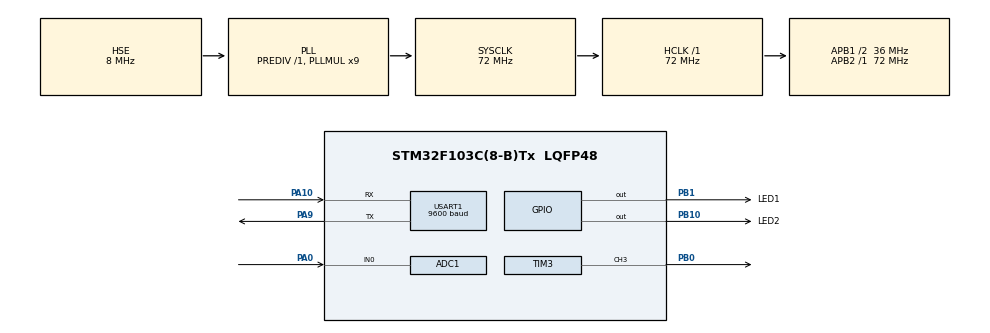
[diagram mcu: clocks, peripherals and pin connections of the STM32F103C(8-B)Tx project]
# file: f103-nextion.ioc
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ADC1.Channel-0\#ChannelRegularConversion=ADC_CHANNEL_0
ADC1.NbrOfConversionFlag=1
ADC1.Rank-0\#ChannelRegularConversion=1
ADC1.SamplingTime-0\#ChannelRegularConversion=ADC_SAMPLETIME_71CYCLES_5
ADC1.master=1
Mcu.Family=STM32F1
Mcu.Name=STM32F103C(8-B)Tx
Mcu.Package=LQFP48
NVIC.ADC1_2_IRQn=true\:0\:0\:false\:false\:true\:true\:true
NVIC.PriorityGroup=NVIC_PRIORITYGROUP_4
NVIC.USART1_IRQn=true\:0\:0\:false\:false\:true\:true\:true
PA0-WKUP.Signal=ADCx_IN0
PA10.Mode=Asynchronous
PA10.Signal=USART1_RX
PA13.Mode=Serial_Wire
PA13.Signal=SYS_JTMS-SWDIO
PA14.Mode=Serial_Wire
PA14.Signal=SYS_JTCK-SWCLK
PA9.Mode=Asynchronous
PA9.Signal=USART1_TX
PB0.Signal=S_TIM3_CH3
PB1.GPIO_Label=LED1
PB1.Signal=GPIO_Output
PB10.GPIO_Label=LED2
PB10.Signal=GPIO_Output
PD0-OSC_IN.Mode=HSE-External-Oscillator
PD0-OSC_IN.Signal=RCC_OSC_IN
PD1-OSC_OUT.Mode=HSE-External-Oscillator
PD1-OSC_OUT.Signal=RCC_OSC_OUT
ProjectManager.HeapSize=0x200
ProjectManager.StackSize=0x400
ProjectManager.TargetToolchain=STM32CubeIDE
RCC.ADCPresc=RCC_ADCPCLK2_DIV6
RCC.AHBFreq_Value=72000000
RCC.APB1CLKDivider=RCC_HCLK_DIV2
RCC.APB1Freq_Value=36000000
RCC.APB1TimFreq_Value=72000000
RCC.APB2Freq_Value=72000000
RCC.APB2TimFreq_Value=72000000
RCC.HCLKFreq_Value=72000000
RCC.PLLMUL=RCC_PLL_MUL9
RCC.PLLSourceVirtual=RCC_PLLSOURCE_HSE
RCC.SYSCLKFreq_VALUE=72000000
RCC.SYSCLKSource=RCC_SYSCLKSOURCE_PLLCLK
RCC.USBFreq_Value=72000000
SH.ADCx_IN0.0=ADC1_IN0,IN0
SH.S_TIM3_CH3.0=TIM3_CH3,PWM Generation3 CH3
TIM3.Channel-PWM\ Generation3\ CH3=TIM_CHANNEL_3
TIM3.Period=999
TIM3.Prescaler=71
USART1.BaudRate=9600
USART1.VirtualMode=VM_ASYNC
board=custom

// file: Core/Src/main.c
/* USER CODE BEGIN Header */
/**
  ******************************************************************************
  * @file           : main.c
  * @brief          : Main program body
  ******************************************************************************
  * @attention
  *
  * <h2><center>&copy; Copyright (c) 2021 STMicroelectronics.
  * All rights reserved.</center></h2>
  *
  * This software component is licensed by ST under BSD 3-Clause license,
  * the "License"; You may not use this file except in compliance with the
  * License. You may obtain a copy of the License at:
  *                        opensource.org/licenses/BSD-3-Clause
  *
  ******************************************************************************
  */
/* USER CODE END Header */
#include "main.h"

/* USER CODE BEGIN Includes */
#include <stdio.h>
#include <stdlib.h>
/* USER CODE END Includes */

ADC_HandleTypeDef hadc1;

TIM_HandleTypeDef htim3;

UART_HandleTypeDef huart1;

/* USER CODE BEGIN PV */
uint8_t recArr[32], recData, cnt = 0, endPackCnt = 0, packReady = 0, pageId = 0;
uint8_t sendStr[32], sendLen = 0;
uint16_t adcVal = 0;
uint32_t lastTimeSend = 0;
/* USER CODE END PV */

void SystemClock_Config(void);
static void MX_GPIO_Init(void);
static void MX_ADC1_Init(void);
static void MX_TIM3_Init(void);
static void MX_USART1_UART_Init(void);

/* USER CODE BEGIN 0 */

//UART Rx data receieve callback function
void HAL_UART_RxCpltCallback(UART_HandleTypeDef *huart)
{
	if(huart == &huart1)
	{
		//add received data to buffer
		recArr[cnt++] = recData;

		// count received 0xFF
		if(recData == 0xFF)
		{
			endPackCnt++;
		}else{
			endPackCnt = 0;
		}

		// if 0xFF count reach 3, make packet flag true
		if(endPackCnt == 3)
		{
			packReady = 1;
			endPackCnt = 0;
		}

		HAL_UART_Receive_IT(&huart1, (uint8_t *)&recData, 1);
	}
}

// adc conversion complete callback function
void HAL_ADC_ConvCpltCallback(ADC_HandleTypeDef* hadc)
{
	if(hadc == &hadc1)
	{
		adcVal = HAL_ADC_GetValue(hadc);
		HAL_ADC_Start_IT(&hadc1);
	}
}

// update widget function which have value parameter
void setValueNextion(const char *pId, int pVal)
{
	sendLen = sprintf((char *)sendStr, "%s.val=%d%c%c%c", pId, pVal, 0xFF, 0xFF, 0xFF);
	HAL_UART_Transmit(&huart1, sendStr, sendLen, 2000);
	HAL_Delay(10);
}

// update widget function which have text parameter
void setTextNextion(const char *pId, const char *pVal)
{
	sendLen = sprintf((char *)sendStr, "%s.txt=\"%s\"%c%c%c", pId, pVal, 0xFF, 0xFF, 0xFF);
	HAL_UART_Transmit(&huart1, sendStr, sendLen, 2000);
	HAL_Delay(10);
}
/* USER CODE END 0 */

int main(void)
{

  /* MCU Configuration--------------------------------------------------------*/

  /* Reset of all peripherals, Initializes the Flash interface and the Systick. */
  HAL_Init();

  /* Configure the system clock */
  SystemClock_Config();

  /* Initialize all configured peripherals */
  MX_GPIO_Init();
  MX_ADC1_Init();
  MX_TIM3_Init();
  MX_USART1_UART_Init();
  /* USER CODE BEGIN 2 */
  // start ADC, UART and Timer
  HAL_UART_Receive_IT(&huart1, (uint8_t *)&recData, 1);
  HAL_ADC_Start_IT(&hadc1);
  HAL_TIM_PWM_Start(&htim3, TIM_CHANNEL_3);
  __HAL_TIM_SET_COMPARE(&htim3, TIM_CHANNEL_3, 0);

  // reset nextion screen
  sendLen = sprintf((char *)sendStr, "rest%c%c%c", 0xFF, 0xFF, 0xFF);
  HAL_UART_Transmit(&huart1, sendStr, sendLen, 2000);
  HAL_Delay(10);

  // set LEDs initial stutus to OFF
  HAL_GPIO_WritePin(LED1_GPIO_Port, LED1_Pin, GPIO_PIN_RESET);
  HAL_GPIO_WritePin(LED2_GPIO_Port, LED2_Pin, GPIO_PIN_RESET);

  // set LED status text' s in Nextion screen
  setTextNextion("t0", HAL_GPIO_ReadPin(LED1_GPIO_Port, LED1_Pin) ? "LED Yandi" : "LED Sondu");
  setTextNextion("t1", HAL_GPIO_ReadPin(LED2_GPIO_Port, LED2_Pin) ? "LED Yandi" : "LED Sondu");
  /* USER CODE END 2 */

  /* Infinite loop */
  /* USER CODE BEGIN WHILE */
  while (1)
  {

	  // update screen in every 100ms
	  if(HAL_GetTick() - lastTimeSend > 100)
	  {
		  // according to open page send updated data
		  if(pageId == 0)
		  {
			  // if first page opened, send LED status
	  		  setTextNextion("t0", HAL_GPIO_ReadPin(LED1_GPIO_Port, LED1_Pin) ? "LED Yandi" : "LED Sondu");
	  		  setTextNextion("t1", HAL_GPIO_ReadPin(LED2_GPIO_Port, LED2_Pin) ? "LED Yandi" : "LED Sondu");
		  }else if(pageId == 1)
		  {
			  // if second page opened, send ADC data

			  // scale 12 bit adc to between 0-100
			  uint8_t sendAdc = adcVal * 100 / 4096 ;

			  // convert int value to str
			  char txtPtr[5];
			  itoa(sendAdc, txtPtr, 10);
			  if(sendAdc > 100) sendAdc = 100;
			  setValueNextion("j0", sendAdc);
			  setTextNextion("t0", txtPtr);
		  }

		  lastTimeSend = HAL_GetTick();
	  }

	  // check nextion packet flag is true
	  // if flag is true all of bytes in buffer received
	  if(packReady && cnt > 0)
	  {
		  // check all received packet to where is start byte
		  for(int i = 0; i < cnt; i++)
		  {
			  // check 0x65 byte index in buffer
			  if(recArr[i] == 0x65)
			  {
				  // read bytes from receive buffer
				  uint8_t pId = recArr[i + 1];
				  uint8_t mId = recArr[i + 2];
				  uint8_t mVal = recArr[i + 3];

				  uint16_t pwmVal = mVal * 10;

				  // make choose according to used button' s pageId and widget ID
				  if(pId == 0)
				  {
					  switch(mId)
					  {
					  	  // LED 1 toggle button ID
						  case 2:
							  HAL_GPIO_TogglePin(LED1_GPIO_Port, LED1_Pin);
					  		  setTextNextion("t0", HAL_GPIO_ReadPin(LED1_GPIO_Port, LED1_Pin) ? "LED Yandi" : "LED Sondu");
							  break;
						  // LED 2 toggle button ID
						  case 3:
							  HAL_GPIO_TogglePin(LED2_GPIO_Port, LED2_Pin);
					  		  setTextNextion("t1", HAL_GPIO_ReadPin(LED2_GPIO_Port, LED2_Pin) ? "LED Yandi" : "LED Sondu");
							  break;
						  // change page 1 button ID
						  case 6:
							  pageId = 1;
					  		  HAL_Delay(10);
							  break;
					  }
				  }else if(pId == 1)
				  {
					  switch(mId)
					  {
					  	  // change page 0 button ID
					  	  case 2:
					  		  pageId = 0;
					  		  setTextNextion("t0", HAL_GPIO_ReadPin(LED1_GPIO_Port, LED1_Pin) ? "LED Yandi" : "LED Sondu");
					  		  setTextNextion("t1", HAL_GPIO_ReadPin(LED2_GPIO_Port, LED2_Pin) ? "LED Yandi" : "LED Sondu");
					  		  break;
						  // LED 1 switch button ID
						  case 4:
							  HAL_GPIO_WritePin(LED1_GPIO_Port, LED1_Pin, mVal);
							  break;
						  // slider ID
						  case 7:
							  __HAL_TIM_SET_COMPARE(&htim3, TIM_CHANNEL_3, pwmVal);
							  break;
					  }
				  }

				  lastTimeSend = HAL_GetTick();

			  }
		  }
		  packReady = 0;
		  cnt = 0;
	  }
    /* USER CODE END WHILE */

  }
}

void SystemClock_Config(void)
{
  RCC_OscInitTypeDef RCC_OscInitStruct = {0};
  RCC_ClkInitTypeDef RCC_ClkInitStruct = {0};
  RCC_PeriphCLKInitTypeDef PeriphClkInit = {0};

  /** Initializes the RCC Oscillators according to the specified parameters
  * in the RCC_OscInitTypeDef structure.
  */
  RCC_OscInitStruct.OscillatorType = RCC_OSCILLATORTYPE_HSE;
  RCC_OscInitStruct.HSEState = RCC_HSE_ON;
  RCC_OscInitStruct.HSEPredivValue = RCC_HSE_PREDIV_DIV1;
  RCC_OscInitStruct.HSIState = RCC_HSI_ON;
  RCC_OscInitStruct.PLL.PLLState = RCC_PLL_ON;
  RCC_OscInitStruct.PLL.PLLSource = RCC_PLLSOURCE_HSE;
  RCC_OscInitStruct.PLL.PLLMUL = RCC_PLL_MUL9;
  if (HAL_RCC_OscConfig(&RCC_OscInitStruct) != HAL_OK)
  {
    Error_Handler();
  }
  /** Initializes the CPU, AHB and APB buses clocks
  */
  RCC_ClkInitStruct.ClockType = RCC_CLOCKTYPE_HCLK|RCC_CLOCKTYPE_SYSCLK
                              |RCC_CLOCKTYPE_PCLK1|RCC_CLOCKTYPE_PCLK2;
  RCC_ClkInitStruct.SYSCLKSource = RCC_SYSCLKSOURCE_PLLCLK;
  RCC_ClkInitStruct.AHBCLKDivider = RCC_SYSCLK_DIV1;
  RCC_ClkInitStruct.APB1CLKDivider = RCC_HCLK_DIV2;
  RCC_ClkInitStruct.APB2CLKDivider = RCC_HCLK_DIV1;

  if (HAL_RCC_ClockConfig(&RCC_ClkInitStruct, FLASH_LATENCY_2) != HAL_OK)
  {
    Error_Handler();
  }
  PeriphClkInit.PeriphClockSelection = RCC_PERIPHCLK_ADC;
  PeriphClkInit.AdcClockSelection = RCC_ADCPCLK2_DIV6;
  if (HAL_RCCEx_PeriphCLKConfig(&PeriphClkInit) != HAL_OK)
  {
    Error_Handler();
  }
}

static void MX_ADC1_Init(void)
{

  ADC_ChannelConfTypeDef sConfig = {0};

  /** Common config
  */
  hadc1.Instance = ADC1;
  hadc1.Init.ScanConvMode = ADC_SCAN_DISABLE;
  hadc1.Init.ContinuousConvMode = DISABLE;
  hadc1.Init.DiscontinuousConvMode = DISABLE;
  hadc1.Init.ExternalTrigConv = ADC_SOFTWARE_START;
  hadc1.Init.DataAlign = ADC_DATAALIGN_RIGHT;
  hadc1.Init.NbrOfConversion = 1;
  if (HAL_ADC_Init(&hadc1) != HAL_OK)
  {
    Error_Handler();
  }
  /** Configure Regular Channel
  */
  sConfig.Channel = ADC_CHANNEL_0;
  sConfig.Rank = ADC_REGULAR_RANK_1;
  sConfig.SamplingTime = ADC_SAMPLETIME_71CYCLES_5;
  if (HAL_ADC_ConfigChannel(&hadc1, &sConfig) != HAL_OK)
  {
    Error_Handler();
  }

}

static void MX_TIM3_Init(void)
{

  TIM_MasterConfigTypeDef sMasterConfig = {0};
  TIM_OC_InitTypeDef sConfigOC = {0};

  htim3.Instance = TIM3;
  htim3.Init.Prescaler = 71;
  htim3.Init.CounterMode = TIM_COUNTERMODE_UP;
  htim3.Init.Period = 999;
  htim3.Init.ClockDivision = TIM_CLOCKDIVISION_DIV1;
  htim3.Init.AutoReloadPreload = TIM_AUTORELOAD_PRELOAD_DISABLE;
  if (HAL_TIM_PWM_Init(&htim3) != HAL_OK)
  {
    Error_Handler();
  }
  sMasterConfig.MasterOutputTrigger = TIM_TRGO_RESET;
  sMasterConfig.MasterSlaveMode = TIM_MASTERSLAVEMODE_DISABLE;
  if (HAL_TIMEx_MasterConfigSynchronization(&htim3, &sMasterConfig) != HAL_OK)
  {
    Error_Handler();
  }
  sConfigOC.OCMode = TIM_OCMODE_PWM1;
  sConfigOC.Pulse = 0;
  sConfigOC.OCPolarity = TIM_OCPOLARITY_HIGH;
  sConfigOC.OCFastMode = TIM_OCFAST_DISABLE;
  if (HAL_TIM_PWM_ConfigChannel(&htim3, &sConfigOC, TIM_CHANNEL_3) != HAL_OK)
  {
    Error_Handler();
  }
  HAL_TIM_MspPostInit(&htim3);

}

static void MX_USART1_UART_Init(void)
{

  huart1.Instance = USART1;
  huart1.Init.BaudRate = 115200;
  huart1.Init.WordLength = UART_WORDLENGTH_8B;
  huart1.Init.StopBits = UART_STOPBITS_1;
  huart1.Init.Parity = UART_PARITY_NONE;
  huart1.Init.Mode = UART_MODE_TX_RX;
  huart1.Init.HwFlowCtl = UART_HWCONTROL_NONE;
  huart1.Init.OverSampling = UART_OVERSAMPLING_16;
  if (HAL_UART_Init(&huart1) != HAL_OK)
  {
    Error_Handler();
  }

}

static void MX_GPIO_Init(void)
{
  GPIO_InitTypeDef GPIO_InitStruct = {0};

  /* GPIO Ports Clock Enable */
  __HAL_RCC_GPIOD_CLK_ENABLE();
  __HAL_RCC_GPIOA_CLK_ENABLE();
  __HAL_RCC_GPIOB_CLK_ENABLE();

  /*Configure GPIO pin Output Level */
  HAL_GPIO_WritePin(GPIOB, LED1_Pin|LED2_Pin, GPIO_PIN_RESET);

  /*Configure GPIO pins : LED1_Pin LED2_Pin */
  GPIO_InitStruct.Pin = LED1_Pin|LED2_Pin;
  GPIO_InitStruct.Mode = GPIO_MODE_OUTPUT_PP;
  GPIO_InitStruct.Pull = GPIO_NOPULL;
  GPIO_InitStruct.Speed = GPIO_SPEED_FREQ_LOW;
  HAL_GPIO_Init(GPIOB, &GPIO_InitStruct);

}

void Error_Handler(void)
{
  __disable_irq();
  while (1)
  {
  }
}

/************************ (C) COPYRIGHT STMicroelectronics *****END OF FILE****/
